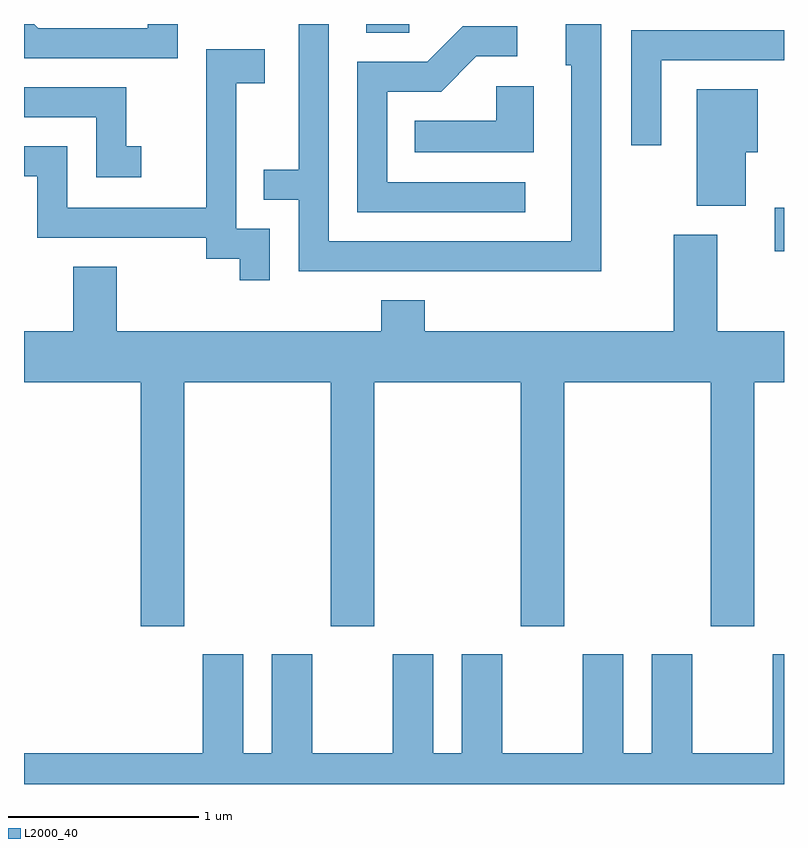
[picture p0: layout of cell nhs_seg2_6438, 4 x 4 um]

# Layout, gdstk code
import gdstk
lib = gdstk.Library(unit=1e-6, precision=1e-09)
def R(c, l, rs):  # rectangles x0, y0, x1, y1
    for r in rs: c.add(gdstk.rectangle(r[:2], r[2:], *l))
def P(c, l, *ps):  # polygons
    for p in ps: c.add(gdstk.Polygon(p, *l))
L2000_40 = (2000, 40)

nhs_seg2_6438 = lib.new_cell('nhs_seg2_6438')
R(nhs_seg2_6438, L2000_40, [(379.561,1004.606,379.611,1004.834), (377.411,1005.756,377.639,1005.802)])
P(nhs_seg2_6438, L2000_40, [(376.419,1005.802),(376.261,1005.802),(376.261,1005.779),(375.687,1005.779),(375.664,1005.802),(375.611,1005.802),(375.611,1005.621),(376.419,1005.621)],
  [(378.649,1005.802),(378.461,1005.802),(378.461,1005.586),(378.491,1005.586),(378.491,1004.659),(377.214,1004.659),(377.214,1005.802),(377.056,1005.802),(377.056,1005.034),(376.873,1005.034),(376.873,1004.876),(377.056,1004.876),(377.056,1004.501),(378.649,1004.501)],
  [(378.248,1004.969),(377.524,1004.969),(377.524,1005.446),(377.807,1005.446),(377.992,1005.631),(378.208,1005.631),(378.208,1005.789),(377.919,1005.789),(377.734,1005.604),(377.366,1005.604),(377.366,1004.811),(378.248,1004.811)],
  [(378.964,1005.611),(379.611,1005.611),(379.611,1005.769),(378.806,1005.769),(378.806,1005.163),(378.964,1005.163)],
  [(376.904,1004.724),(376.729,1004.724),(376.729,1005.491),(376.879,1005.491),(376.879,1005.669),(376.571,1005.669),(376.571,1004.834),(375.839,1004.834),(375.839,1005.159),(375.611,1005.159),(375.611,1005.001),(375.681,1005.001),(375.681,1004.676),(376.571,1004.676),(376.571,1004.566),(376.746,1004.566),(376.746,1004.453),(376.904,1004.453)],
  [(378.294,1005.474),(378.096,1005.474),(378.096,1005.294),(377.668,1005.294),(377.668,1005.126),(378.294,1005.126)],
  [(376.228,1005.159),(376.149,1005.159),(376.149,1005.469),(375.611,1005.469),(375.611,1005.311),(375.991,1005.311),(375.991,1004.996),(376.228,1004.996)],
  [(379.409,1005.126),(379.474,1005.126),(379.474,1005.459),(379.151,1005.459),(379.151,1004.846),(379.409,1004.846)],
  [(376.454,1003.916),(377.226,1003.916),(377.226,1002.631),(377.454,1002.631),(377.454,1003.916),(378.226,1003.916),(378.226,1002.631),(378.454,1002.631),(378.454,1003.916),(379.226,1003.916),(379.226,1002.631),(379.454,1002.631),(379.454,1003.916),(379.611,1003.916),(379.611,1004.184),(379.259,1004.184),(379.259,1004.694),(379.031,1004.694),(379.031,1004.184),(377.719,1004.184),(377.719,1004.349),(377.491,1004.349),(377.491,1004.184),(376.099,1004.184),(376.099,1004.524),(375.871,1004.524),(375.871,1004.184),(375.611,1004.184),(375.611,1003.916),(376.226,1003.916),(376.226,1002.631),(376.454,1002.631)],
  [(379.611,1002.484),(379.551,1002.484),(379.551,1001.964),(379.129,1001.964),(379.129,1002.484),(378.916,1002.484),(378.916,1001.964),(378.764,1001.964),(378.764,1002.484),(378.551,1002.484),(378.551,1001.964),(378.129,1001.964),(378.129,1002.484),(377.916,1002.484),(377.916,1001.964),(377.764,1001.964),(377.764,1002.484),(377.551,1002.484),(377.551,1001.964),(377.129,1001.964),(377.129,1002.484),(376.916,1002.484),(376.916,1001.964),(376.764,1001.964),(376.764,1002.484),(376.551,1002.484),(376.551,1001.964),(375.611,1001.964),(375.611,1001.802),(379.611,1001.802)])

lib.write_gds('nhs_seg2_6438.gds')
